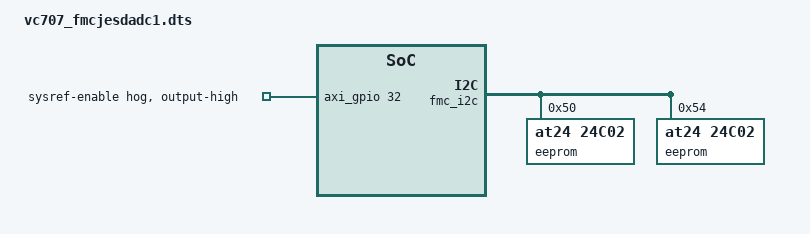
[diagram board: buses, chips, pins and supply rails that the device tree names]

/dts-v1/;

#include "vc707.dtsi"
#include <dt-bindings/jesd204/adxcvr.h>

#define fmc_i2c fmc1_hpc_iic
#define fmc_spi axi_spi

/* fmcjesdadc1_vc707: updated 2019_R2 */
&axi_intc {
	xlnx,kind-of-intr = <0xffff85d0>;
};

&amba_pl {
	axi_ad9250_core0: axi-ad9250-hpc-0@44a10000 {
		compatible = "xlnx,axi-ad9250-1.00.a";
		reg = <0x44a10000 0x10000>;
		dmas = <&rx_dma0 0>;
		dma-names = "rx";
		spibus-connected = <&adc0_ad9250>;
	};
	rx_dma0: rx-dmac@7c420000 {
		compatible = "adi,axi-dmac-1.00.a";
		interrupt-parent = <&axi_intc>;
		interrupts = <13 2>;
		reg = <0x7c420000 0x10000>;
		#dma-cells = <1>;
		clocks = <&clk_bus_0>;

		adi,channels {
			#size-cells = <0>;
			#address-cells = <1>;

			dma-channel@0 {
				reg = <0>;
				adi,source-bus-width = <64>;
				adi,source-bus-type = <2>;
				adi,destination-bus-width = <64>;
				adi,destination-bus-type = <0>;
			};
		};
	};
	axi_ad9250_core1: axi-ad9250-hpc-1@44a20000 {
		compatible = "xlnx,axi-ad9250-1.00.a";
		reg = <0x44a20000 0x10000>;
		dmas = <&rx_dma1 0>;
		dma-names = "rx";
		spibus-connected = <&adc1_ad9250>;
	};
	rx_dma1: rx-dmac@7c430000 {
		compatible = "adi,axi-dmac-1.00.a";
		interrupt-parent = <&axi_intc>;
		interrupts = <12 2>;
		reg = <0x7c430000 0x10000>;
		#dma-cells = <1>;
		clocks = <&clk_bus_0>;

		adi,channels {
			#size-cells = <0>;
			#address-cells = <1>;

			dma-channel@0 {
				reg = <0>;
				adi,source-bus-width = <64>;
				adi,source-bus-type = <2>;
				adi,destination-bus-width = <64>;
				adi,destination-bus-type = <0>;
			};
		};
	};
	axi_adxcvr: axi-adxcvr@44a60000 {
		#address-cells = <1>;
		#size-cells = <0>;
		compatible = "adi,axi-adxcvr-1.0";
		reg = < 0x44a60000 0x1000 >;
		#clock-cells = <1>;

		clocks = <&clk_ad9517 0>;
		clock-names = "conv";
		clock-output-names = "adc_gt_clk", "rx_out_clk";

		adi,sys-clk-select = <XCVR_CPLL>;
		adi,out-clk-select = <XCVR_OUTCLK_PMA>;
	};
	axi_jesd: axi-jesd204b-rx@44aa0000 {
		compatible = "adi,axi-jesd204-rx-1.0";
		reg = <0x44aa0000 0x1000>;
		interrupt-parent = <&axi_intc>;
		interrupts = <14 0>;

		#clock-cells = <0>;
		clocks = <&clk_bus_0>, <&axi_adxcvr 1>, <&axi_adxcvr 0>;
		clock-names = "s_axi_aclk", "device_clk", "lane_clk";
		clock-output-names = "jesd_adc_lane_clk";

		adi,octets-per-frame = <2>;
		adi,frames-per-multiframe = <32>;
	};
};

&axi_gpio {
	sysref_enable {
		gpio-hog;
		gpios = <32 0>;
		output-high;
		line-name = "sysref-enable";
	};
};

&fmc_i2c {
	eeprom@50 {
		compatible = "at24,24c02";
		reg = <0x50>;
	};

	eeprom@54 {
		compatible = "at24,24c02";
		reg = <0x54>;
	};
};

#include "adi-fmcjesdadc1.dtsi"
